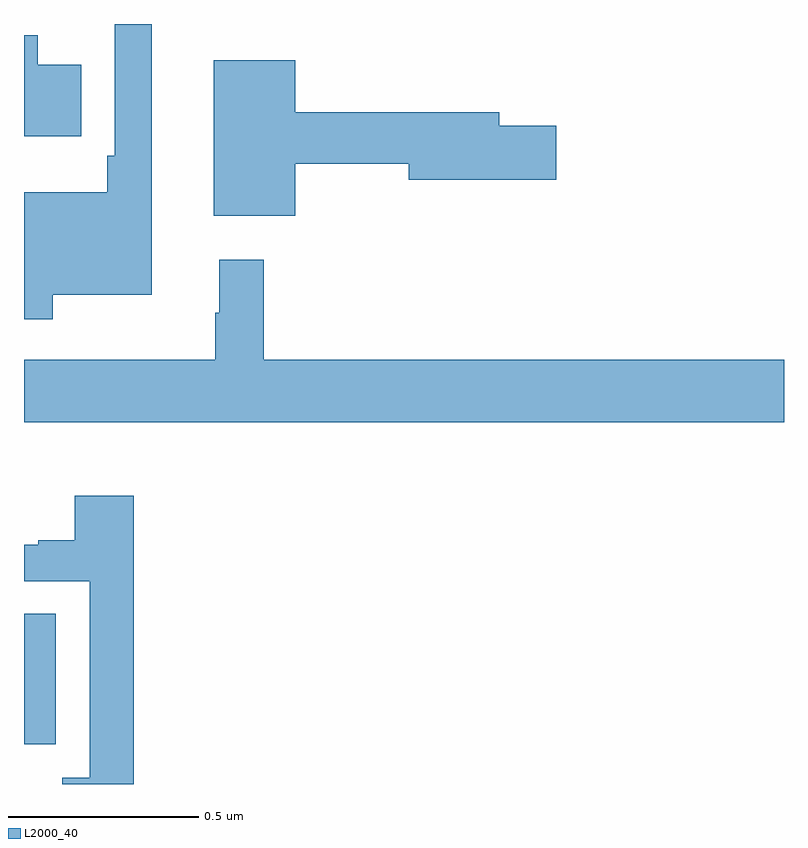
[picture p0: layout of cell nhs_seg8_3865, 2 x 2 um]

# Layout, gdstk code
import gdstk
lib = gdstk.Library(unit=1e-6, precision=1e-09)
def R(c, l, rs):  # rectangles x0, y0, x1, y1
    for r in rs: c.add(gdstk.rectangle(r[:2], r[2:], *l))
def P(c, l, *ps):  # polygons
    for p in ps: c.add(gdstk.Polygon(p, *l))
L2000_40 = (2000, 40)

nhs_seg8_3865 = lib.new_cell('nhs_seg8_3865')
R(nhs_seg8_3865, L2000_40, [(163,1097.005,163.084,1097.348)])
P(nhs_seg8_3865, L2000_40, [(163.075,1098.188),(163.336,1098.188),(163.336,1098.9),(163.239,1098.9),(163.239,1098.553),(163.219,1098.553),(163.219,1098.457),(163,1098.457),(163,1098.123),(163.075,1098.123)],
  [(163.15,1098.793),(163.036,1098.793),(163.036,1098.871),(163,1098.871),(163,1098.605),(163.15,1098.605)],
  [(163.714,1098.532),(164.012,1098.532),(164.012,1098.49),(164.401,1098.49),(164.401,1098.632),(164.251,1098.632),(164.251,1098.668),(163.714,1098.668),(163.714,1098.805),(163.499,1098.805),(163.499,1098.395),(163.714,1098.395)],
  [(165,1098.016),(163.631,1098.016),(163.631,1098.28),(163.514,1098.28),(163.514,1098.14),(163.503,1098.14),(163.503,1098.016),(163,1098.016),(163,1097.852),(165,1097.852)],
  [(163.289,1097.659),(163.133,1097.659),(163.133,1097.542),(163.037,1097.542),(163.037,1097.529),(163,1097.529),(163,1097.433),(163.173,1097.433),(163.173,1096.917),(163.101,1096.917),(163.101,1096.9),(163.289,1096.9)])

lib.write_gds('nhs_seg8_3865.gds')
